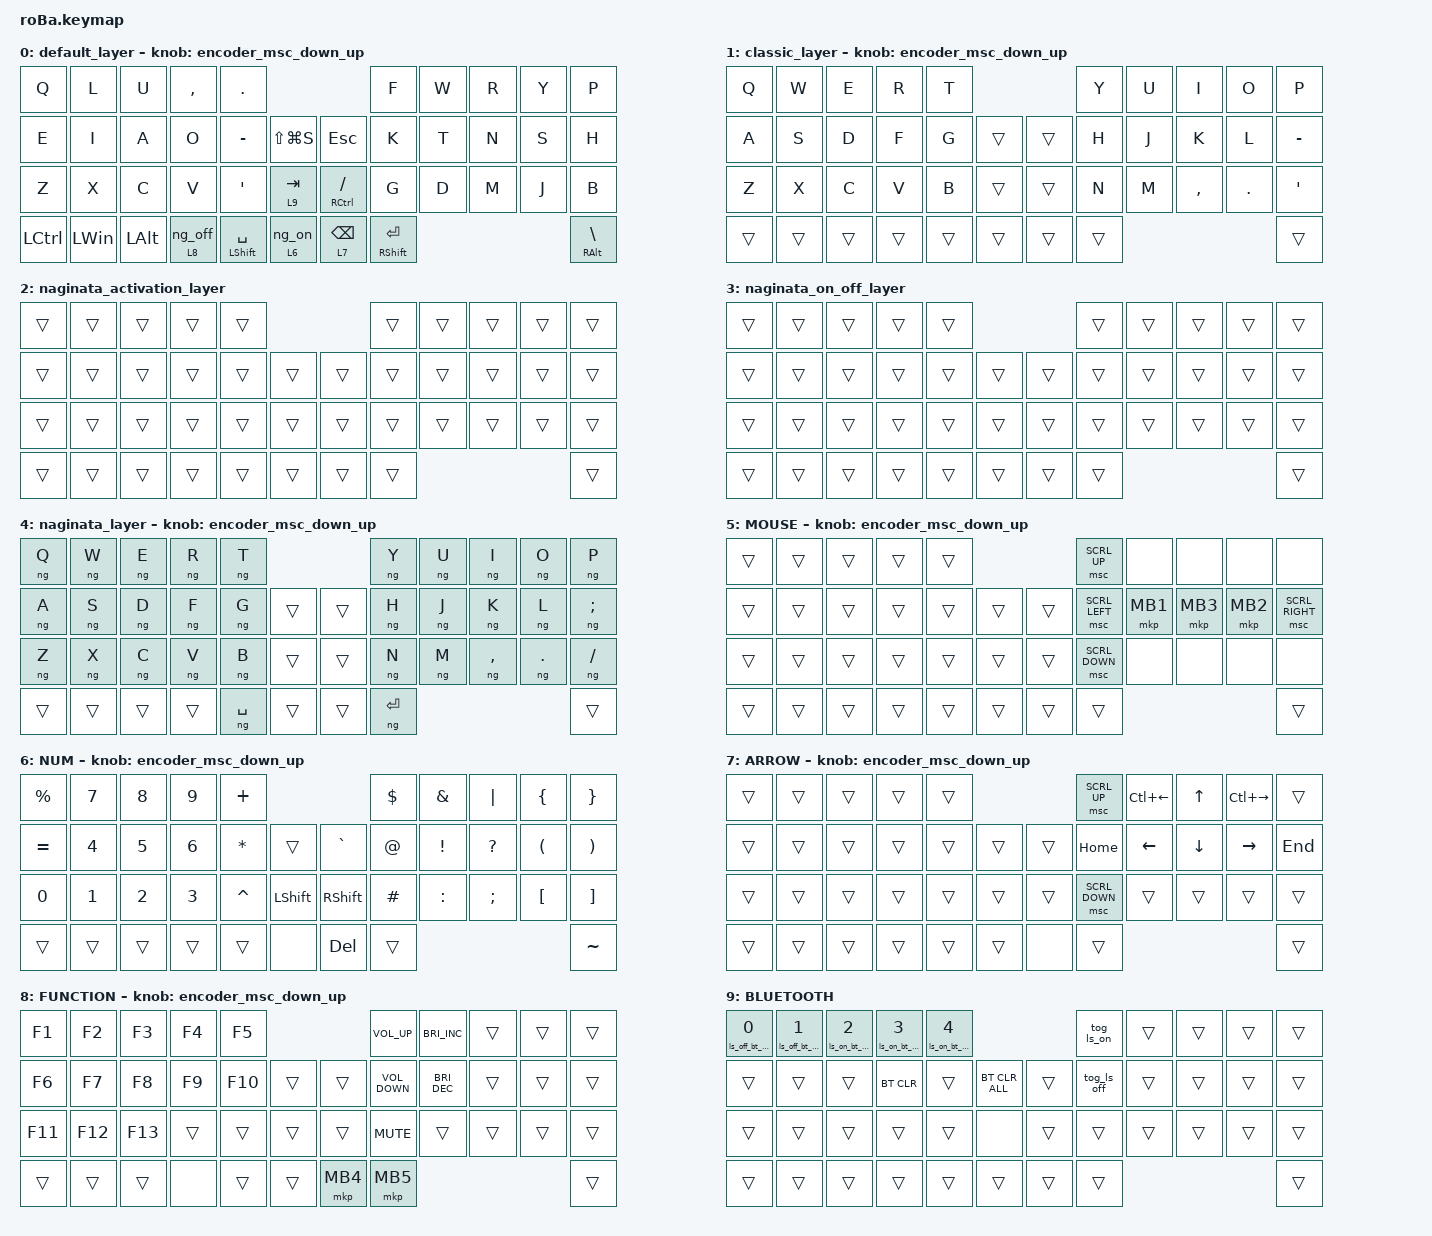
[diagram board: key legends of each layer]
#include <layout_shift.dtsi>
#include <input/processors.dtsi>
#include <behaviors/naginata.dtsi>
#include <behaviors.dtsi>
#include <dt-bindings/zmk/bt.h>
#include <dt-bindings/zmk/keys.h>
#include <dt-bindings/zmk/pointing.h>

#define ZMK_POINTING_DEFAULT_SCRL_VAL 100

&mt {
    flavor = "balanced";
    quick-tap-ms = <0>;
};

&zip_temp_layer {
    excluded-positions = <
        5 // F (Y)
        6 // W (U)
        7 // R (I)
        8 // Y (O)
        9 // P (P)
        17 // K (H)
        18 // T (J)
        19 // N (K)
        20 // S (L)
        21 // H (-)
        29 // G (N)
        30 // D (M)
        31 // M (,)
        32 // J (.)
        33 // B (')
        34 // Ctrl
        35 // Win
        36 // Alt
        38 // LShift / Space
    >;

    require-prior-idle-ms = <200>;
};

&trackball {
    //    automouse-layer = <6>;
    //    scroll-layers = <7>;
    // arrows {
    //     layers = <3>;
    //     bindings =
    //         <&kp RIGHT_ARROW>,
    //         <&kp LEFT_ARROW>,
    //         <&kp UP_ARROW>,
    //         <&kp DOWN_ARROW>;
    //     tick = <10>;
    //     wait-ms = <5>;
    //     tap-ms = <5>;
    // };
};

&trackball_listener { input-processors = <&zip_temp_layer 5 100000>; };

&mkp_input_listener { input-processors = <&zip_temp_layer 5 100000>; };

/ {
    combos {
        compatible = "zmk,combos";

        toggle-classic-layer {
            bindings = <&tog 1>;
            key-positions = <39 37>;
            layers = <0 1>;
        };

        ng_activate {
            bindings = <&ng_activate>;
            key-positions = <18 19>;
            layers = <0 1 4 2 3>;
        };

        ng_deactivate {
            bindings = <&ng_deactivate>;
            key-positions = <13 12>;
            layers = <0 1 4 2 3>;
        };
    };

    macros {
        to_layer_0: to_layer_0 {
            compatible = "zmk,behavior-macro-one-param";
            #binding-cells = <1>;
            bindings = <&to 0 &macro_param_1to1 &kp MACRO_PLACEHOLDER>;
            label = "TO_LAYER_0";
        };

        ng_activate: ng_activate {
            compatible = "zmk,behavior-macro";
            #binding-cells = <0>;
            bindings = <&macro_tap>, <&tog_on 2 &tog_on 3 &kp LANGUAGE_1>;

            label = "NG_ACTIVATE";
        };

        ng_deactivate: ng_deactivate {
            compatible = "zmk,behavior-macro";
            #binding-cells = <0>;
            bindings = <&macro_tap>, <&tog_off 3 &tog_off 2 &kp LANGUAGE_2>;

            label = "NG_DEACTIVATE";
        };

        ng_on: ng_on {
            compatible = "zmk,behavior-macro";
            #binding-cells = <0>;
            bindings = <&macro_tap>, <&tog_on 3 &kp LANGUAGE_1>;

            label = "NG_ON";
        };

        ng_off: ng_off {
            compatible = "zmk,behavior-macro";
            #binding-cells = <0>;
            bindings = <&macro_tap>, <&tog_off 3 &kp LANGUAGE_2>;

            label = "NG_OFF";
        };

        ls_on_bt_sel: ls_on_bt_sel {
            compatible = "zmk,behavior-macro-one-param";
            #binding-cells = <1>;
            bindings = <&tog_ls_on &macro_param_1to2 &bt BT_SEL MACRO_PLACEHOLDER>;
            label = "LS_ON_BT_SEL";
        };

        ls_off_bt_sel: ls_off_bt_sel {
            compatible = "zmk,behavior-macro-one-param";
            #binding-cells = <1>;
            bindings = <&tog_ls_off &macro_param_1to2 &bt BT_SEL MACRO_PLACEHOLDER>;
            label = "LS_OFF_BT_SEL";
        };
    };

    behaviors {
        // Keep the original key_press behavior for ZMK core components
        // https://github.com/kot149/zmk-layout-shift

        original_key_press: original_key_press {
            compatible = "zmk,behavior-key-press";
            #binding-cells = <1>;
            label = "KEY_PRESS";
        };

        // Override the existing &kp behavior to use our custom implementation
        // https://github.com/kot149/zmk-layout-shift

        kp: key_press {
            compatible = "zmk,behavior-layout-shift-key-press";
            #binding-cells = <1>;
            label = "LAYOUT_SHIFT_KEY_PRESS";
        };

        lt_to_layer_0: lt_to_layer_0 {
            compatible = "zmk,behavior-hold-tap";
            label = "LAYER_TAP_TO_0";
            bindings = <&mo>, <&to_layer_0>;

            #binding-cells = <2>;
            tapping-term-ms = <200>;
        };

        tog_on: tog_on {
            compatible = "zmk,behavior-toggle-layer";
            label = "TOG_ON";
            #binding-cells = <1>;
        };

        tog_off: tog_off {
            compatible = "zmk,behavior-toggle-layer";
            label = "TOG_OFF";
            #binding-cells = <1>;
            toggle-mode = "off";
        };

        encoder_msc_down_up: encoder_msc_down_up {
            compatible = "zmk,behavior-sensor-rotate";
            label = "ENCODER_MSC_DOWN_UP";
            #sensor-binding-cells = <0>;
            bindings = <&msc SCRL_DOWN>, <&msc SCRL_UP>;

            tap-ms = <20>;
        };

        lt_ng_off: lt_ng_off {
            compatible = "zmk,behavior-hold-tap";
            label = "LT_NG_OFF";
            bindings = <&mo>, <&ng_off>;

            #binding-cells = <2>;
            tapping-term-ms = <200>;
        };

        lt_ng_on: lt_ng_on {
            compatible = "zmk,behavior-hold-tap";
            label = "LT_NG_ON";
            bindings = <&mo>, <&ng_on>;

            #binding-cells = <2>;
            tapping-term-ms = <200>;
        };

        lt_quick: lt_quick {
            compatible = "zmk,behavior-hold-tap";
            label = "LT_QUICK";
            bindings = <&mo>, <&kp>;

            #binding-cells = <2>;
            tapping-term-ms = <200>;
            quick-tap-ms = <300>;
        };
    };

    keymap {
        compatible = "zmk,keymap";

        default_layer {
            bindings = <
&kp Q      &kp L         &kp U         &kp COMMA       &kp DOT                                                         &kp F                  &kp W  &kp R  &kp Y  &kp P
&kp E      &kp I         &kp A         &kp O           &kp MINUS             &kp LS(LG(S))      &kp ESCAPE             &kp K                  &kp T  &kp N  &kp S  &kp H
&kp Z      &kp X         &kp C         &kp V           &kp APOS              &lt 9 TAB          &mt RCTRL SLASH        &kp G                  &kp D  &kp M  &kp J  &kp B
&kp LCTRL  &kp LEFT_WIN  &kp LEFT_ALT  &lt_ng_off 8 0  &mt LEFT_SHIFT SPACE  &lt_ng_on 6 0      &lt_quick 7 BACKSPACE  &mt RIGHT_SHIFT ENTER                       &mt RIGHT_ALT BACKSLASH
            >;

            sensor-bindings = <&encoder_msc_down_up>;
        };

        classic_layer {
            bindings = <
&kp Q   &kp W   &kp E   &kp R   &kp T                       &kp Y   &kp U  &kp I      &kp O    &kp P
&kp A   &kp S   &kp D   &kp F   &kp G   &trans      &trans  &kp H   &kp J  &kp K      &kp L    &kp MINUS
&kp Z   &kp X   &kp C   &kp V   &kp B   &trans      &trans  &kp N   &kp M  &kp COMMA  &kp DOT  &kp SINGLE_QUOTE
&trans  &trans  &trans  &trans  &trans  &trans      &trans  &trans                             &trans
            >;

            sensor-bindings = <&encoder_msc_down_up>;
        };

        naginata_activation_layer {
            bindings = <
&trans  &trans  &trans  &trans  &trans                      &trans  &trans  &trans  &trans  &trans
&trans  &trans  &trans  &trans  &trans  &trans      &trans  &trans  &trans  &trans  &trans  &trans
&trans  &trans  &trans  &trans  &trans  &trans      &trans  &trans  &trans  &trans  &trans  &trans
&trans  &trans  &trans  &trans  &trans  &trans      &trans  &trans                          &trans
            >;
        };

        naginata_on_off_layer {
            bindings = <
&trans  &trans  &trans  &trans  &trans                      &trans  &trans  &trans  &trans  &trans
&trans  &trans  &trans  &trans  &trans  &trans      &trans  &trans  &trans  &trans  &trans  &trans
&trans  &trans  &trans  &trans  &trans  &trans      &trans  &trans  &trans  &trans  &trans  &trans
&trans  &trans  &trans  &trans  &trans  &trans      &trans  &trans                          &trans
            >;
        };

        naginata_layer {
            bindings = <
&ng Q   &ng W   &ng E   &ng R   &ng T                          &ng Y      &ng U  &ng I      &ng O    &ng P
&ng A   &ng S   &ng D   &ng F   &ng G      &trans      &trans  &ng H      &ng J  &ng K      &ng L    &ng SEMI
&ng Z   &ng X   &ng C   &ng V   &ng B      &trans      &trans  &ng N      &ng M  &ng COMMA  &ng DOT  &ng FSLH
&trans  &trans  &trans  &trans  &ng SPACE  &trans      &trans  &ng ENTER                             &trans
            >;

            sensor-bindings = <&encoder_msc_down_up>;
        };

        MOUSE {
            bindings = <
&trans  &trans  &trans  &trans  &trans                      &msc SCRL_UP    &none     &none     &none     &none
&trans  &trans  &trans  &trans  &trans  &trans      &trans  &msc SCRL_LEFT  &mkp MB1  &mkp MB3  &mkp MB2  &msc SCRL_RIGHT
&trans  &trans  &trans  &trans  &trans  &trans      &trans  &msc SCRL_DOWN  &none     &none     &none     &none
&trans  &trans  &trans  &trans  &trans  &trans      &trans  &trans                                        &trans
            >;

            sensor-bindings = <&encoder_msc_down_up>;
        };

        NUM {
            bindings = <
&kp PERCENT  &kp N7  &kp N8  &kp N9  &kp PLUS                                           &kp DOLLAR   &kp AMPERSAND    &kp PIPE       &kp LEFT_BRACE        &kp RIGHT_BRACE
&kp EQUAL    &kp N4  &kp N5  &kp N6  &kp ASTERISK  &trans              &kp GRAVE        &kp AT_SIGN  &kp EXCLAMATION  &kp QUESTION   &kp LEFT_PARENTHESIS  &kp RIGHT_PARENTHESIS
&kp N0       &kp N1  &kp N2  &kp N3  &kp CARET     &kp LEFT_SHIFT      &kp RIGHT_SHIFT  &kp HASH     &kp COLON        &kp SEMICOLON  &kp LEFT_BRACKET      &kp RIGHT_BRACKET
&trans       &trans  &trans  &trans  &trans        &none               &kp DELETE       &trans                                                             &kp TILDE
            >;

            sensor-bindings = <&encoder_msc_down_up>;
        };

        ARROW {
            bindings = <
&trans  &trans  &trans  &trans  &trans                      &msc SCRL_UP    &kp LC(LEFT_ARROW)  &kp UP_ARROW    &kp LC(RIGHT_ARROW)  &trans
&trans  &trans  &trans  &trans  &trans  &trans      &trans  &kp HOME        &kp LEFT_ARROW      &kp DOWN_ARROW  &kp RIGHT_ARROW      &kp END
&trans  &trans  &trans  &trans  &trans  &trans      &trans  &msc SCRL_DOWN  &trans              &trans          &trans               &trans
&trans  &trans  &trans  &trans  &trans  &trans      &none   &trans                                                                   &trans
            >;

            sensor-bindings = <&encoder_msc_down_up>;
        };

        FUNCTION {
            bindings = <
&kp F1   &kp F2   &kp F3   &kp F4  &kp F5                         &kp C_VOLUME_UP    &kp C_BRIGHTNESS_INC  &trans  &trans  &trans
&kp F6   &kp F7   &kp F8   &kp F9  &kp F10  &trans      &trans    &kp C_VOLUME_DOWN  &kp C_BRIGHTNESS_DEC  &trans  &trans  &trans
&kp F11  &kp F12  &kp F13  &trans  &trans   &trans      &trans    &kp C_MUTE         &trans                &trans  &trans  &trans
&trans   &trans   &trans   &none   &trans   &trans      &mkp MB4  &mkp MB5                                                 &trans
            >;

            sensor-bindings = <&encoder_msc_down_up>;
        };

        BLUETOOTH {
            bindings = <
&ls_off_bt_sel 0  &ls_off_bt_sel 1  &ls_on_bt_sel 2  &ls_on_bt_sel 3  &ls_on_bt_sel 4                              &tog_ls_on   &trans  &trans  &trans  &trans
&trans            &trans            &trans           &bt BT_CLR       &trans           &bt BT_CLR_ALL      &trans  &tog_ls_off  &trans  &trans  &trans  &trans
&trans            &trans            &trans           &trans           &trans           &none               &trans  &trans       &trans  &trans  &trans  &trans
&trans            &trans            &trans           &trans           &trans           &trans              &trans  &trans                               &trans
            >;
        };
    };

    conditional_layers {
        compatible = "zmk,conditional-layers";

        naginata {
            if-layers = <2 3>;
            then-layer = <4>;
        };
    };
};
